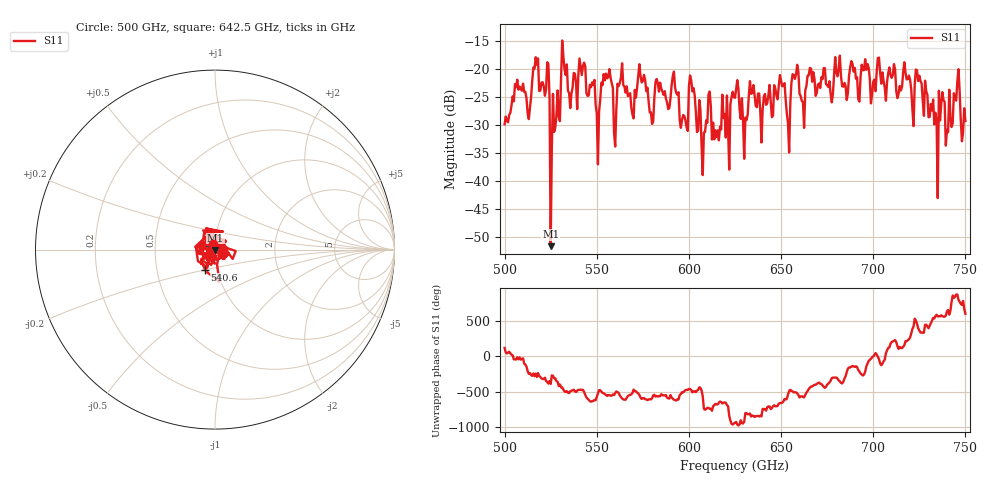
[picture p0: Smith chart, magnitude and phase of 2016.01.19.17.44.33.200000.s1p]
!Created with skrf (http://scikit-rf.org).
# GHz S RI R 50.0
!freq ReS11 ImS11
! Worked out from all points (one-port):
!   401 points, 500 GHz to 750 GHz, reference 50 ohm
!   lowest |S11| = -51.7 dB at 525 GHz (marker M1), VSWR 1.01, Z = 50.2 - j0.144 ohm
!   |S11| at or under -10 dB: start of sweep to end of sweep
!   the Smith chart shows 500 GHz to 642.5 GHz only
!   S11 on the Smith chart (normalised r, x): 500 GHz: 0.97, +0.06; 540.6 GHz: 0.87, -0.20; 642.5 GHz: 1.10, -0.01
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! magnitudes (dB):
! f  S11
! 500 GHz  -29.8
! 513.1 GHz  -28.9
! 516.9 GHz  -17.8
! 523.1 GHz  -18.7
! 525 GHz  -51.7
! 526.2 GHz  -24.4
! 531.2 GHz  -14.8
! 540.6 GHz  -18.1
! 550.6 GHz  -37.0
! 553.8 GHz  -20.9
! 560 GHz  -33.8
! 562.5 GHz  -22.5
! 593.8 GHz  -24.6
! 598.1 GHz  -29.1
! 601.9 GHz  -24.0
! 608.1 GHz  -31.3
! 625 GHz  -25.1
! 630.6 GHz  -28.6
! 633.8 GHz  -24.4
! 642.5 GHz  -26.0
! 650.6 GHz  -23.0
! 653.8 GHz  -29.7
! 656.2 GHz  -20.9
! 687.5 GHz  -19.6
! 718.8 GHz  -21.7
! 733.8 GHz  -27.8
! 745.6 GHz  -22.2
! 750 GHz  -29.2
